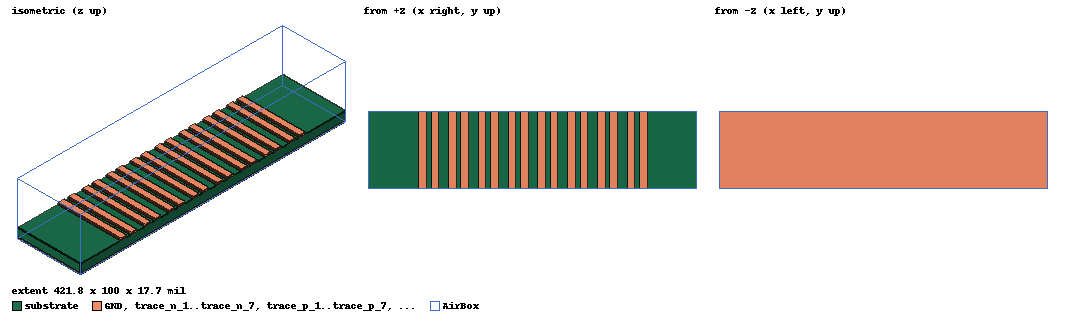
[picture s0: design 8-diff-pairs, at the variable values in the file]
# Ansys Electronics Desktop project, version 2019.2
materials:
  vacuum: permittivity=1
  copper: permeability=0.999991 conductivity=58000000
  FR4_epoxy: permittivity=4.4 dielectric_loss_tangent=0.02
  air: permittivity=1.0006 permeability=1.0000004

design 8-diff-pairs (HFSS, DrivenTerminal, model units mil)
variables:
  H = 13mil  # substrate height
  W = 9.7mil  # trace width
  S = 6.3mil  # trace seperation
  T = 2.35mil  # trace thickness
  LL = 100mil  # length of line
  ss_coef = 2  # ratio of SS/S
  SS = S*ss_coef  # differential pair's seperation
  num_of_pairs = 8  # total number of diff-pairs
  sub_res = num_of_pairs/4*(2*W+S+SS)-SS
  sub_width = 2*sub_res+num_of_pairs*(2*W+S+SS)-SS
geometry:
  trace_p [copper] = box(corner=(0mil, 0mil, H), size=(W, LL, T))
  trace_n [copper] = trace_p.duplicate_along_line(step=(W+S, 0mil, 0mil), total=2)
  trace_n_1..trace_n_7 [copper] = trace_n.duplicate_along_line(step=(2*W+S+SS, 0mil, 0mil), total=num_of_pairs)
  trace_p_1..trace_p_7 [copper] = trace_p.duplicate_along_line(step=(2*W+S+SS, 0mil, 0mil), total=num_of_pairs)
  substrate [FR4_epoxy] = box(corner=(-sub_res, 0mil, 0mil), size=(sub_width, LL, H))
  GND [copper] = box(corner=(-sub_res, 0mil, 0mil), size=(sub_width, LL, -T))
  AirBox [air] = box(corner=(-sub_res, 0mil, -T), size=(sub_width, LL, T+6*H+T))
